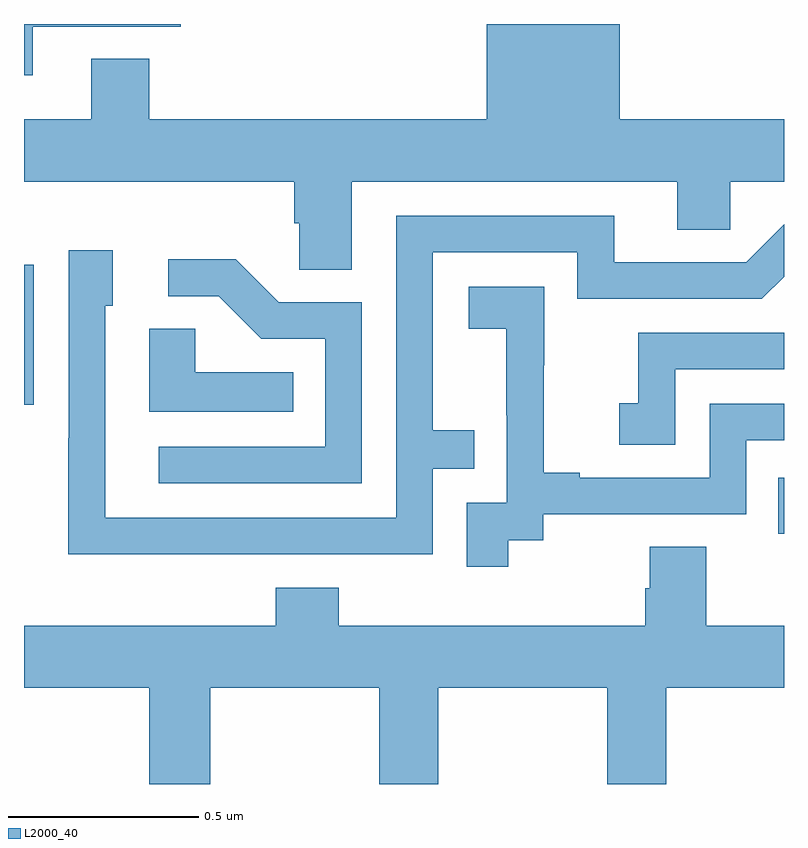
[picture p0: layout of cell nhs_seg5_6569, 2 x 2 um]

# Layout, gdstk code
import gdstk
lib = gdstk.Library(unit=1e-6, precision=1e-09)
def R(c, l, rs):  # rectangles x0, y0, x1, y1
    for r in rs: c.add(gdstk.rectangle(r[:2], r[2:], *l))
def P(c, l, *ps):  # polygons
    for p in ps: c.add(gdstk.Polygon(p, *l))
L2000_40 = (2000, 40)

nhs_seg5_6569 = lib.new_cell('nhs_seg5_6569')
R(nhs_seg5_6569, L2000_40, [(198.985,898.458,199,898.605), (197,898.797,197.025,899.166)])
P(nhs_seg5_6569, L2000_40, [(197.863,899.384),(198.719,899.384),(198.719,899.257),(198.858,899.257),(198.858,899.384),(199,899.384),(199,899.548),(198.568,899.548),(198.568,899.799),(198.218,899.799),(198.218,899.548),(197.33,899.548),(197.33,899.707),(197.177,899.707),(197.177,899.548),(197,899.548),(197,899.384),(197.711,899.384),(197.711,899.275),(197.724,899.275),(197.724,899.152),(197.863,899.152)],
  [(197.023,899.792),(197.413,899.792),(197.413,899.799),(197,899.799),(197,899.664),(197.023,899.664)],
  [(197.579,898.404),(198.075,898.404),(198.075,898.629),(198.185,898.629),(198.185,898.73),(198.075,898.73),(198.075,899.199),(198.456,899.199),(198.456,899.076),(198.942,899.076),(199,899.134),(199,899.272),(198.9,899.172),(198.553,899.172),(198.553,899.295),(197.979,899.295),(197.979,898.5),(197.214,898.5),(197.214,899.058),(197.233,899.058),(197.233,899.203),(197.118,899.203),(197.118,898.709),(197.116,898.709),(197.116,898.403),(197.579,898.403)],
  [(197.889,899.067),(197.67,899.067),(197.557,899.18),(197.379,899.18),(197.379,899.082),(197.513,899.082),(197.624,898.971),(197.793,898.971),(197.793,898.686),(197.355,898.686),(197.355,898.59),(197.889,898.59)],
  [(198.274,898.441),(198.366,898.441),(198.366,898.509),(198.9,898.509),(198.9,898.704),(199,898.704),(199,898.8),(198.804,898.8),(198.804,898.605),(198.463,898.605),(198.463,898.618),(198.368,898.618),(198.368,898.901),(198.369,898.901),(198.369,899.107),(198.171,899.107),(198.171,898.997),(198.269,898.997),(198.269,898.769),(198.27,898.769),(198.27,898.539),(198.165,898.539),(198.165,898.371),(198.274,898.371)],
  [(197.708,898.882),(197.451,898.882),(197.451,898.997),(197.33,898.997),(197.33,898.778),(197.708,898.778)],
  [(198.714,898.89),(199,898.89),(199,898.986),(198.616,898.986),(198.616,898.801),(198.567,898.801),(198.567,898.692),(198.714,898.692)],
  [(197.49,898.052),(197.935,898.052),(197.935,897.799),(198.09,897.799),(198.09,898.052),(198.535,898.052),(198.535,897.799),(198.69,897.799),(198.69,898.052),(199,898.052),(199,898.216),(198.795,898.216),(198.795,898.424),(198.647,898.424),(198.647,898.314),(198.635,898.314),(198.635,898.216),(197.828,898.216),(197.828,898.315),(197.663,898.315),(197.663,898.216),(197,898.216),(197,898.052),(197.33,898.052),(197.33,897.799),(197.49,897.799)])

lib.write_gds('nhs_seg5_6569.gds')
